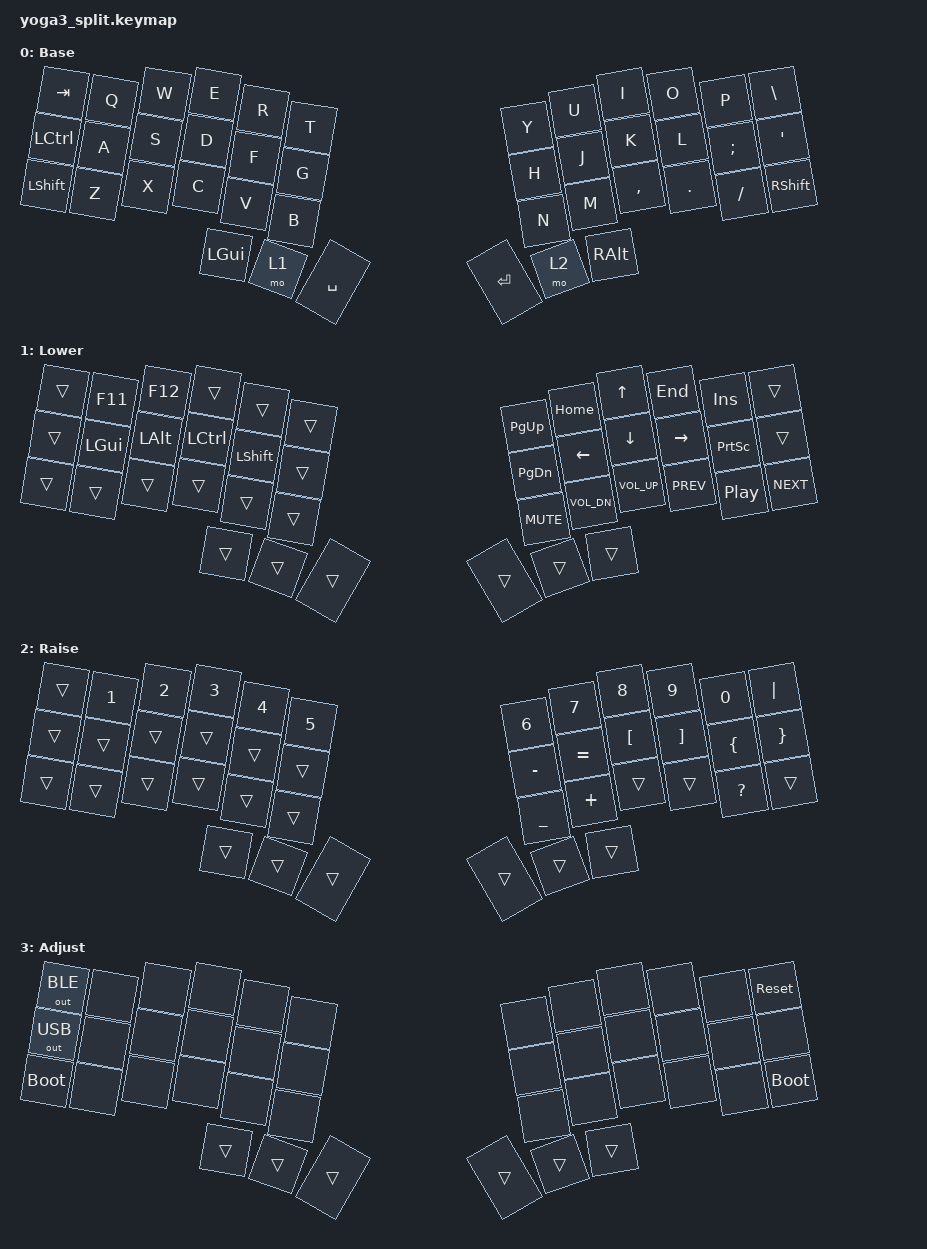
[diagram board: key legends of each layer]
/*
 * SPDX-License-Identifier: MIT
 */

#include <behaviors.dtsi>
#include <dt-bindings/zmk/keys.h>
#include <dt-bindings/zmk/bt.h>
#include <dt-bindings/zmk/outputs.h>

/ {
    conditional_layers {
        compatible = "zmk,conditional-layers";
        adjust { if-layers = <1 2>; then-layer = <3>; };
    };

    keymap {
        compatible = "zmk,keymap";
        base_layer {
            display-name = "Base";
            bindings = <
                &kp TAB         &kp Q           &kp W           &kp E           &kp R           &kp T             &kp Y           &kp U           &kp I           &kp O           &kp P           &kp BSLH      
                &kp LCTRL       &kp A           &kp S           &kp D           &kp F           &kp G             &kp H           &kp J           &kp K           &kp L           &kp SEMI        &kp SQT       
                &kp LSHFT       &kp Z           &kp X           &kp C           &kp V           &kp B             &kp N           &kp M           &kp COMMA       &kp DOT         &kp FSLH        &kp RSHFT     
                                                                &kp LGUI        &mo 1           &kp SPACE         &kp RET         &mo 2           &kp RALT      
            >;
        };
        lower_layer {
            display-name = "Lower";
            bindings = <
                &trans          &kp F11         &kp F12         &trans          &trans          &trans            &kp PG_UP       &kp HOME        &kp UP          &kp END         &kp INS         &trans        
                &trans          &kp LGUI        &kp LALT        &kp LCTRL       &kp LSHFT       &trans            &kp PG_DN       &kp LEFT        &kp DOWN        &kp RIGHT       &kp PSCRN       &trans        
                &trans          &trans          &trans          &trans          &trans          &trans            &kp C_MUTE      &kp C_VOL_DN    &kp C_VOL_UP    &kp C_PREV      &kp C_PP        &kp C_NEXT    
                                                                &trans          &trans          &trans            &trans          &trans          &trans        
            >;
        };
        raise_layer {
            display-name = "Raise";
            bindings = <
                &trans          &kp N1          &kp N2          &kp N3          &kp N4          &kp N5            &kp N6          &kp N7          &kp N8          &kp N9          &kp N0          &kp PIPE      
                &trans          &trans          &trans          &trans          &trans          &trans            &kp MINUS       &kp EQUAL       &kp LBKT        &kp RBKT        &kp LBRC        &kp RBRC      
                &trans          &trans          &trans          &trans          &trans          &trans            &kp UNDER       &kp PLUS        &trans          &trans          &kp QMARK       &trans        
                                                                &trans          &trans          &trans            &trans          &trans          &trans        
            >;
        };
        adjust_layer {
            display-name = "Adjust";
            bindings = <
                &out OUT_BLE    &none           &none           &none           &none           &none             &none           &none           &none           &none           &none           &sys_reset    
                &out OUT_USB    &none           &none           &none           &none           &none             &none           &none           &none           &none           &none           &none         
                &bootloader     &none           &none           &none           &none           &none             &none           &none           &none           &none           &none           &bootloader
                                                                &trans          &trans          &trans            &trans          &trans          &trans        
            >;
        };
    };
};
